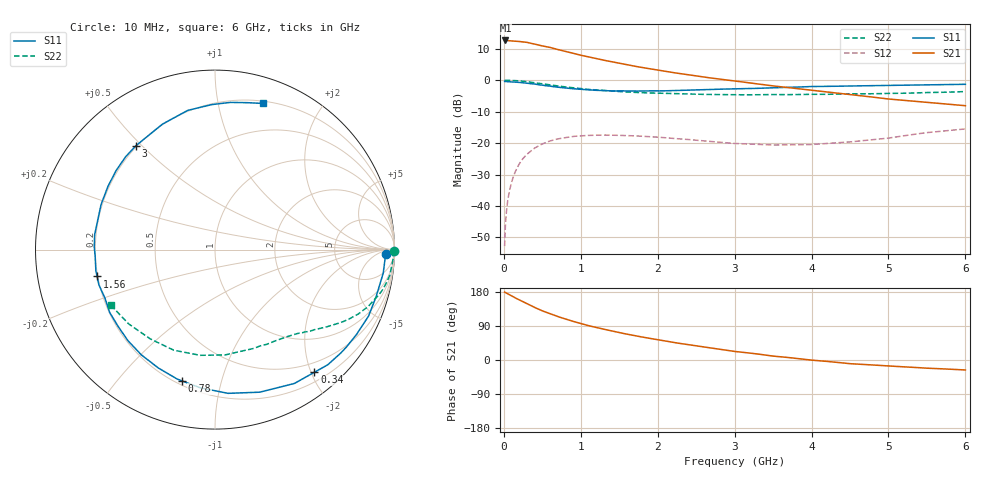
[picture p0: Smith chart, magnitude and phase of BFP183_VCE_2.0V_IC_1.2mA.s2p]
! Infineon Technologies  Discrete & RF Semiconductors
! BFP183
! VCE = 2.0 V,  IC =  1.2 mA
! Common Emitter S-Parameters:  Jan 2016
# GHz  S  MA  R  50
!  f  S11  S21  S12  S22
! GHz  MAG  ANG  MAG  ANG  MAG  ANG  MAG  ANG
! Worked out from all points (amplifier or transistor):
!   210 points, 10 MHz to 6 GHz, reference 50 ohm
!   highest |S21| = 12.6 dB at 20 MHz (marker M1)
!   |S21| within 3 dB of that: start of sweep to 721.7 MHz
!   unconditionally stable (mu >= 1): 2.391 GHz to end of sweep
!   at 185 MHz: K = 0.08, MSG = 19.8 dB, |S12| = -27.3 dB
!   at 1.52 GHz: K = 0.61, MSG = 11.4 dB, |S12| = -17.6 dB
!   at 6 GHz: K = 1.03, MAG = 2.6 dB, |S12| = -15.5 dB
!   S11 on the Smith chart (normalised r, x): 10 MHz: 33, -17; 340 MHz: 0.34, -2.05; 780 MHz: 0.22, -0.75; 1.56 GHz: 0.20, -0.11; 3 GHz: 0.20, +0.48; 6 GHz: 0.22, +1.36
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0.01  0.9529 -1.4  4.245 179.3  0.0023 84.3  0.9996 -0.6
0.02  0.9487 -3.2  4.264 178.4  0.0048 87.8  0.9909 -1.1
0.035  0.9468 -5.6  4.249 176.5  0.0084 88.8  0.9924 -2.0
0.05  0.9465 -8.0  4.239 174.6  0.012 89.2  0.9942 -2.8
0.12  0.9326 -18.6  4.162 167.2  0.0283 78.3  0.9862 -6.7
0.22  0.9144 -33.7  4.076 156.4  0.0507 69.9  0.9675 -12.0
0.3  0.8981 -45.6  3.979 148.7  0.0662 63.2  0.9427 -15.9
0.34  0.8797 -51.0  3.87 144.8  0.0728 59.6  0.9293 -17.6
0.4  0.8672 -59.3  3.742 138.6  0.0831 55.4  0.9109 -20.3
0.52  0.8239 -75.0  3.451 128.2  0.099 46.8  0.868 -24.8
0.6  0.8042 -84.8  3.307 122.0  0.1079 41.9  0.8401 -27.5
0.78  0.754 -104.2  2.909 109.4  0.1206 32.3  0.7843 -32.2
1.02  0.7117 -126.7  2.456 95.2  0.1305 22.1  0.728 -37.3
1.3  0.6833 -149.2  2.07 81.2  0.134 13.0  0.6819 -42.2
1.56  0.6737 -167.2  1.797 69.9  0.1319 7.0  0.6516 -46.3
2.02  0.6734 166.8  1.43 52.7  0.1236 0.1  0.6182 -53.7
2.58  0.7035 142.2  1.128 34.8  0.1085 -3.1  0.5934 -64.3
3  0.7275 127.2  0.969 22.6  0.0985 -1.4  0.5855 -73.2
3.1  0.7298 124.2  0.934 20.5  0.0974 -0.2  0.5845 -75.5
4.1  0.792 99.1  0.671 -1.9  0.0966 14.7  0.594 -100.9
5.1  0.8263 82.8  0.489 -16.9  0.1251 25.3  0.6159 -128.7
6  0.8577 71.7  0.392 -26.3  0.1676 21.6  0.658 -152.0
